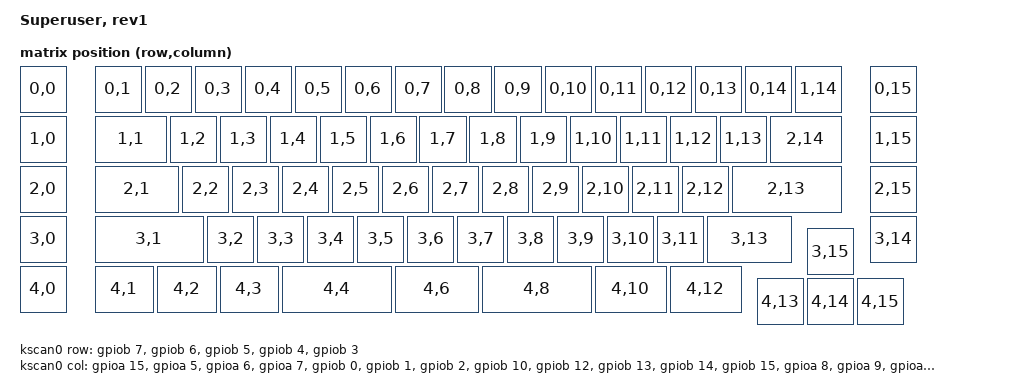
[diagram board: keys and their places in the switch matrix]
/*
 * Copyright (c) 2025 Kalyan Sriram
 *
 * SPDX-License-Identifier: MIT
 */

/dts-v1/;
#include <st/f4/stm32f412Xe.dtsi>
#include <st/f4/stm32f412c(e-g)ux-pinctrl.dtsi>
#include <dt-bindings/zmk/matrix_transform.h>
#include <physical_layouts.dtsi>

/ {
    model = "Superuser, rev1";
    compatible = "superuser,rev1", "st,stm32f412";

    chosen {
        zephyr,sram = &sram0;
        zephyr,flash = &flash0;
        zephyr,console = &usart2;
        zephyr,shell-uart = &usart2;
        /* zephyr,code-partition = &slot0_partition; */
        zmk,kscan = &kscan0;
        zmk,physical-layout = &physical_layout0;
        /* zmk,settings-storage = &storage_partition; */
    };

    kscan0: kscan {
        compatible = "zmk,kscan-gpio-matrix";
        diode-direction = "col2row";
        poll-period-ms = <2>;
        row-gpios
            = <&gpiob 7  (GPIO_ACTIVE_HIGH | GPIO_PULL_DOWN)>
            , <&gpiob 6  (GPIO_ACTIVE_HIGH | GPIO_PULL_DOWN)>
            , <&gpiob 5  (GPIO_ACTIVE_HIGH | GPIO_PULL_DOWN)>
            , <&gpiob 4  (GPIO_ACTIVE_HIGH | GPIO_PULL_DOWN)>
            , <&gpiob 3  (GPIO_ACTIVE_HIGH | GPIO_PULL_DOWN)>
            ;
        col-gpios
            = <&gpioa 15 GPIO_ACTIVE_HIGH>
            , <&gpioa 5  GPIO_ACTIVE_HIGH>
            , <&gpioa 6  GPIO_ACTIVE_HIGH>
            , <&gpioa 7  GPIO_ACTIVE_HIGH>
            , <&gpiob 0  GPIO_ACTIVE_HIGH>
            , <&gpiob 1  GPIO_ACTIVE_HIGH>
            , <&gpiob 2  GPIO_ACTIVE_HIGH>
            , <&gpiob 10 GPIO_ACTIVE_HIGH>
            , <&gpiob 12 GPIO_ACTIVE_HIGH>
            , <&gpiob 13 GPIO_ACTIVE_HIGH>
            , <&gpiob 14 GPIO_ACTIVE_HIGH>
            , <&gpiob 15 GPIO_ACTIVE_HIGH>
            , <&gpioa 8  GPIO_ACTIVE_HIGH>
            , <&gpioa 9  GPIO_ACTIVE_HIGH>
            , <&gpioa 10 GPIO_ACTIVE_HIGH>
            , <&gpioa 4  GPIO_ACTIVE_HIGH>
            ;
    };

    physical_layout0: physical_layout0 {
        compatible = "zmk,physical-layout";
        display-name = "Default Layout";
        transform = <&default_transform>;

        keys  //                     w   h    x    y     rot    rx    ry
            = <&key_physical_attrs 100 100    0    0       0     0     0>
            , <&key_physical_attrs 100 100  150    0       0     0     0>
            , <&key_physical_attrs 100 100  250    0       0     0     0>
            , <&key_physical_attrs 100 100  350    0       0     0     0>
            , <&key_physical_attrs 100 100  450    0       0     0     0>
            , <&key_physical_attrs 100 100  550    0       0     0     0>
            , <&key_physical_attrs 100 100  650    0       0     0     0>
            , <&key_physical_attrs 100 100  750    0       0     0     0>
            , <&key_physical_attrs 100 100  850    0       0     0     0>
            , <&key_physical_attrs 100 100  950    0       0     0     0>
            , <&key_physical_attrs 100 100 1050    0       0     0     0>
            , <&key_physical_attrs 100 100 1150    0       0     0     0>
            , <&key_physical_attrs 100 100 1250    0       0     0     0>
            , <&key_physical_attrs 100 100 1350    0       0     0     0>
            , <&key_physical_attrs 100 100 1450    0       0     0     0>
            , <&key_physical_attrs 100 100 1550    0       0     0     0>
            , <&key_physical_attrs 100 100 1700    0       0     0     0>
            , <&key_physical_attrs 100 100    0  100       0     0     0>
            , <&key_physical_attrs 150 100  150  100       0     0     0>
            , <&key_physical_attrs 100 100  300  100       0     0     0>
            , <&key_physical_attrs 100 100  400  100       0     0     0>
            , <&key_physical_attrs 100 100  500  100       0     0     0>
            , <&key_physical_attrs 100 100  600  100       0     0     0>
            , <&key_physical_attrs 100 100  700  100       0     0     0>
            , <&key_physical_attrs 100 100  800  100       0     0     0>
            , <&key_physical_attrs 100 100  900  100       0     0     0>
            , <&key_physical_attrs 100 100 1000  100       0     0     0>
            , <&key_physical_attrs 100 100 1100  100       0     0     0>
            , <&key_physical_attrs 100 100 1200  100       0     0     0>
            , <&key_physical_attrs 100 100 1300  100       0     0     0>
            , <&key_physical_attrs 100 100 1400  100       0     0     0>
            , <&key_physical_attrs 150 100 1500  100       0     0     0>
            , <&key_physical_attrs 100 100 1700  100       0     0     0>
            , <&key_physical_attrs 100 100    0  200       0     0     0>
            , <&key_physical_attrs 175 100  150  200       0     0     0>
            , <&key_physical_attrs 100 100  325  200       0     0     0>
            , <&key_physical_attrs 100 100  425  200       0     0     0>
            , <&key_physical_attrs 100 100  525  200       0     0     0>
            , <&key_physical_attrs 100 100  625  200       0     0     0>
            , <&key_physical_attrs 100 100  725  200       0     0     0>
            , <&key_physical_attrs 100 100  825  200       0     0     0>
            , <&key_physical_attrs 100 100  925  200       0     0     0>
            , <&key_physical_attrs 100 100 1025  200       0     0     0>
            , <&key_physical_attrs 100 100 1125  200       0     0     0>
            , <&key_physical_attrs 100 100 1225  200       0     0     0>
            , <&key_physical_attrs 100 100 1325  200       0     0     0>
            , <&key_physical_attrs 225 100 1425  200       0     0     0>
            , <&key_physical_attrs 100 100 1700  200       0     0     0>
            , <&key_physical_attrs 100 100    0  300       0     0     0>
            , <&key_physical_attrs 225 100  150  300       0     0     0>
            , <&key_physical_attrs 100 100  375  300       0     0     0>
            , <&key_physical_attrs 100 100  475  300       0     0     0>
            , <&key_physical_attrs 100 100  575  300       0     0     0>
            , <&key_physical_attrs 100 100  675  300       0     0     0>
            , <&key_physical_attrs 100 100  775  300       0     0     0>
            , <&key_physical_attrs 100 100  875  300       0     0     0>
            , <&key_physical_attrs 100 100  975  300       0     0     0>
            , <&key_physical_attrs 100 100 1075  300       0     0     0>
            , <&key_physical_attrs 100 100 1175  300       0     0     0>
            , <&key_physical_attrs 100 100 1275  300       0     0     0>
            , <&key_physical_attrs 175 100 1375  300       0     0     0>
            , <&key_physical_attrs 100 100 1700  300       0     0     0>
            , <&key_physical_attrs 100 100 1575  325       0     0     0>
            , <&key_physical_attrs 100 100    0  400       0     0     0>
            , <&key_physical_attrs 125 100  150  400       0     0     0>
            , <&key_physical_attrs 125 100  275  400       0     0     0>
            , <&key_physical_attrs 125 100  400  400       0     0     0>
            , <&key_physical_attrs 225 100  525  400       0     0     0>
            , <&key_physical_attrs 175 100  750  400       0     0     0>
            , <&key_physical_attrs 225 100  925  400       0     0     0>
            , <&key_physical_attrs 150 100 1150  400       0     0     0>
            , <&key_physical_attrs 150 100 1300  400       0     0     0>
            , <&key_physical_attrs 100 100 1475  425       0     0     0>
            , <&key_physical_attrs 100 100 1575  425       0     0     0>
            , <&key_physical_attrs 100 100 1675  425       0     0     0>
            ;
    };

    default_transform: matrix_transform {
        compatible = "zmk,matrix-transform";
        rows = <5>;
        columns = <16>;

        map = <
            RC(0, 0) RC(0, 1) RC(0, 2) RC(0, 3) RC(0, 4) RC(0, 5) RC(0, 6) RC(0, 7) RC(0, 8) RC(0, 9) RC(0, 10) RC(0, 11) RC(0, 12) RC(0, 13) RC(0, 14) RC(1, 14) RC(0, 15)
            RC(1, 0) RC(1, 1) RC(1, 2) RC(1, 3) RC(1, 4) RC(1, 5) RC(1, 6) RC(1, 7) RC(1, 8) RC(1, 9) RC(1, 10) RC(1, 11) RC(1, 12) RC(1, 13) RC(2, 14) RC(1, 15)
            RC(2, 0) RC(2, 1) RC(2, 2) RC(2, 3) RC(2, 4) RC(2, 5) RC(2, 6) RC(2, 7) RC(2, 8) RC(2, 9) RC(2, 10) RC(2, 11) RC(2, 12) RC(2, 13)           RC(2, 15)
            RC(3, 0) RC(3, 1) RC(3, 2) RC(3, 3) RC(3, 4) RC(3, 5) RC(3, 6) RC(3, 7) RC(3, 8) RC(3, 9) RC(3, 10) RC(3, 11)           RC(3, 13) RC(3, 14) RC(3, 15)
            RC(4, 0) RC(4, 1) RC(4, 2) RC(4, 3) RC(4, 4)          RC(4, 6)          RC(4, 8)          RC(4, 10)           RC(4, 12) RC(4, 13) RC(4, 14) RC(4, 15)
        >;
    };
};

zephyr_udc0: &usbotg_fs {
    pinctrl-0 = <&usb_otg_fs_dm_pa11 &usb_otg_fs_dp_pa12>;
    pinctrl-names = "default";
    status = "okay";
};

&clk_hse {
    status = "okay";
    clock-frequency = <DT_FREQ_M(16)>;
};

&pll {
    clocks = <&clk_hse>;
    div-m = <16>;
    mul-n = <192>;
    div-p = <2>;
    div-q = <4>;
    status = "okay";
};

&rcc {
    clocks = <&pll>;
    clock-frequency = <DT_FREQ_M(96)>;
    ahb-prescaler = <1>;
    apb1-prescaler = <2>;
    apb2-prescaler = <1>;
};

&flash0 {
    /*
     * For more information, see:
     * http://docs.zephyrproject.org/latest/guides/dts/index.html#flash-partitions
     */
     partitions {
         compatible = "fixed-partitions";
         #address-cells = <1>;
         #size-cells = <1>;

         /* boot_partition: partition@0 { */
         /*     label = "mcuboot"; */
         /*     reg = <0x00000000 DT_SIZE_K(32)>; */
         /*     read-only; */
         /* }; */

         /*
         * The flash starting at offset 0x00008000 and ending at
         * offset 0x0001ffff (sectors 2 through 4) is reserved for
         * use by the application.
         */

         /* storage_partition: partition@8000 { */
         /*     label = "storage"; */
         /*     reg = <0x00008000 DT_SIZE_K(32)>; */
         /* }; */

         /* slot0_partition: partition@20000 { */
         /*     label = "image-0"; */
         /*     reg = <0x00020000 DT_SIZE_K(128)>; */
         /* }; */
         /* slot1_partition: partition@40000 { */
         /*     label = "image-1"; */
         /*     reg = <0x00040000 DT_SIZE_K(128)>; */
         /* }; */
         /* scratch_partition: partition@60000 { */
         /*     label = "image-scratch"; */
         /*     reg = <0x00060000 DT_SIZE_K(128)>; */
         /* }; */
     };
};

&usart2 {
    status = "okay";
    current-speed = <115200>;
    pinctrl-0 = <&usart2_tx_pa2 &usart2_rx_pa3>;
    pinctrl-names = "default";
};
